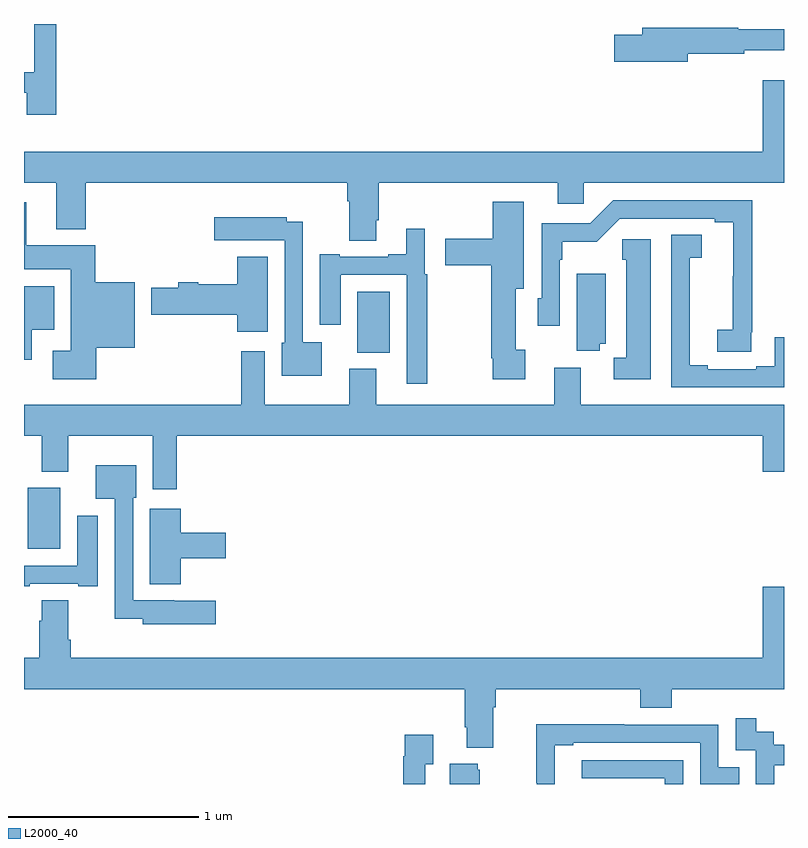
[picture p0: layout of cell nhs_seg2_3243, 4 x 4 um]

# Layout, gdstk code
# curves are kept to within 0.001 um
import gdstk
lib = gdstk.Library(unit=1e-6, precision=1e-09)
def R(c, l, rs):  # rectangles x0, y0, x1, y1
    for r in rs: c.add(gdstk.rectangle(r[:2], r[2:], *l))
def P(c, l, *ps):  # polygons
    for p in ps: c.add(gdstk.Polygon(p, *l))
L2000_40 = (2000, 40)

nhs_seg2_3243 = lib.new_cell('nhs_seg2_3243')
R(nhs_seg2_3243, L2000_40, [(281.021,651.038,281.191,651.358), (282.755,652.07,282.925,652.39)])
P(nhs_seg2_3243, L2000_40, [(281.171,653.8),(281.055,653.8),(281.055,653.547),(281,653.547),(281,653.439),(281.015,653.439),(281.015,653.322),(281.171,653.322)],
  [(284.494,653.644),(284.792,653.644),(284.792,653.663),(285,653.663),(285,653.773),(284.759,653.773),(284.759,653.78),(284.255,653.78),(284.255,653.744),(284.106,653.744),(284.106,653.602),(284.494,653.602)],
  [(281,652.964),(281.171,652.964),(281.171,652.721),(281.324,652.721),(281.324,652.964),(282.701,652.964),(282.701,652.868),(282.713,652.868),(282.713,652.66),(282.853,652.66),(282.853,652.768),(282.866,652.768),(282.866,652.964),(283.808,652.964),(283.808,652.854),(283.947,652.854),(283.947,652.964),(285,652.964),(285,653.503),(284.888,653.503),(284.888,653.128),(281,653.128)],
  [(284.828,652.177),(284.834,652.177),(284.834,652.872),(284.1,652.872),(283.98,652.752),(283.725,652.752),(283.725,652.356),(283.704,652.356),(283.704,652.212),(283.821,652.212),(283.821,652.559),(283.834,652.559),(283.834,652.655),(284.015,652.655),(284.136,652.776),(284.636,652.776),(284.636,652.756),(284.732,652.756),(284.731,652.19),(284.649,652.19),(284.649,652.075),(284.828,652.075)],
  [(283.639,652.086),(283.588,652.086),(283.588,652.406),(283.63,652.406),(283.63,652.864),(283.466,652.864),(283.466,652.671),(283.218,652.671),(283.218,652.529),(283.459,652.529),(283.459,652.042),(283.466,652.042),(283.466,651.93),(283.639,651.93)],
  [(281.381,652.097),(281.584,652.097),(281.584,652.441),(281.376,652.441),(281.376,652.636),(281.011,652.636),(281.011,652.861),(281,652.861),(281,652.508),(281.246,652.508),(281.246,652.081),(281.151,652.081),(281.151,651.929),(281.381,651.929)],
  [(282.568,652.126),(282.468,652.126),(282.468,652.76),(282.384,652.76),(282.384,652.783),(282,652.783),(282,652.661),(282.275,652.661),(282.275,652.662),(282.372,652.662),(282.372,652.122),(282.356,652.122),(282.356,651.95),(282.568,651.95)],
  [(283.123,652.482),(283.11,652.482),(283.11,652.723),(283.013,652.723),(283.013,652.588),(282.917,652.588),(282.917,652.575),(282.661,652.575),(282.661,652.588),(282.557,652.588),(282.557,652.218),(282.667,652.218),(282.667,652.479),(283.014,652.479),(283.014,651.906),(283.123,651.906)],
  [(285,652.151),(284.952,652.151),(284.952,651.998),(284.855,651.998),(284.855,651.984),(284.599,651.984),(284.599,652.004),(284.503,652.004),(284.503,652.267),(284.505,652.267),(284.505,652.571),(284.566,652.571),(284.566,652.691),(284.406,652.691),(284.406,651.888),(285,651.888)],
  [(284.299,652.666),(284.149,652.666),(284.149,652.56),(284.171,652.56),(284.171,652.044),(284.103,652.044),(284.103,651.929),(284.299,651.929)],
  [(282.283,652.576),(282.122,652.576),(282.122,652.429),(281.917,652.429),(281.917,652.442),(281.813,652.442),(281.813,652.412),(281.669,652.412),(281.669,652.27),(282.122,652.27),(282.122,652.179),(282.283,652.179)],
  [(284.03,652.118),(284.062,652.118),(284.062,652.486),(283.91,652.486),(283.91,652.081),(284.03,652.081)],
  [(281.041,652.19),(281.158,652.19),(281.158,652.42),(281,652.42),(281,652.032),(281.041,652.032)],
  [(281.804,651.632),(284.888,651.632),(284.888,651.444),(285,651.444),(285,651.796),(283.93,651.796),(283.93,651.991),(283.79,651.991),(283.79,651.796),(282.853,651.796),(282.853,651.985),(282.713,651.985),(282.713,651.796),(282.268,651.796),(282.268,652.078),(282.143,652.078),(282.143,651.796),(281,651.796),(281,651.632),(281.093,651.632),(281.093,651.443),(281.233,651.443),(281.233,651.632),(281.678,651.632),(281.678,651.351),(281.804,651.351)],
  [(282.01,650.764),(281.79,650.764),(281.79,650.766),(281.574,650.766),(281.574,651.306),(281.59,651.306),(281.59,651.478),(281.378,651.478),(281.378,651.302),(281.478,651.302),(281.478,650.669),(281.625,650.669),(281.625,650.642),(282.01,650.642)],
  [(281.825,650.987),(282.061,650.987),(282.061,651.122),(281.825,651.122),(281.825,651.25),(281.663,651.25),(281.663,650.851),(281.825,650.851)],
  [(281.029,650.853),(281.285,650.853),(281.285,650.841),(281.389,650.841),(281.389,651.211),(281.279,651.211),(281.279,650.949),(281,650.949),(281,650.841),(281.029,650.841)],
  [(283.471,650.204),(283.484,650.204),(283.484,650.3),(284.243,650.3),(284.243,650.201),(284.408,650.201),(284.408,650.3),(285,650.3),(285,650.839),(284.888,650.839),(284.888,650.464),(281.246,650.464),(281.246,650.56),(281.233,650.56),(281.233,650.768),(281.093,650.768),(281.093,650.66),(281.081,650.66),(281.081,650.464),(281,650.464),(281,650.3),(283.319,650.3),(283.319,650.098),(283.331,650.098),(283.331,649.991),(283.471,649.991)],
  [(284.948,649.899),(285,649.899),(285,650.007),(284.946,650.007),(284.946,650.076),(284.854,650.076),(284.854,650.146),(284.745,650.146),(284.745,649.977),(284.85,649.977),(284.85,649.8),(284.948,649.8)],
  [(283.794,650.004),(283.891,650.004),(283.891,650.016),(284.559,650.016),(284.559,649.8),(284.765,649.8),(284.765,649.887),(284.655,649.887),(284.655,650.112),(284.159,650.112),(284.159,650.114),(283.696,650.114),(283.696,649.807),(283.698,649.807),(283.698,649.8),(283.794,649.8)],
  [(283.113,649.903),(283.153,649.903),(283.153,650.059),(283.005,650.059),(283.005,649.946),(282.997,649.946),(282.997,649.8),(283.113,649.8)],
  [(284.469,649.926),(283.935,649.926),(283.935,649.83),(284.373,649.83),(284.373,649.8),(284.469,649.8)],
  [(283.399,649.875),(283.388,649.875),(283.388,649.906),(283.241,649.906),(283.241,649.8),(283.399,649.8)])

lib.write_gds('nhs_seg2_3243.gds')
